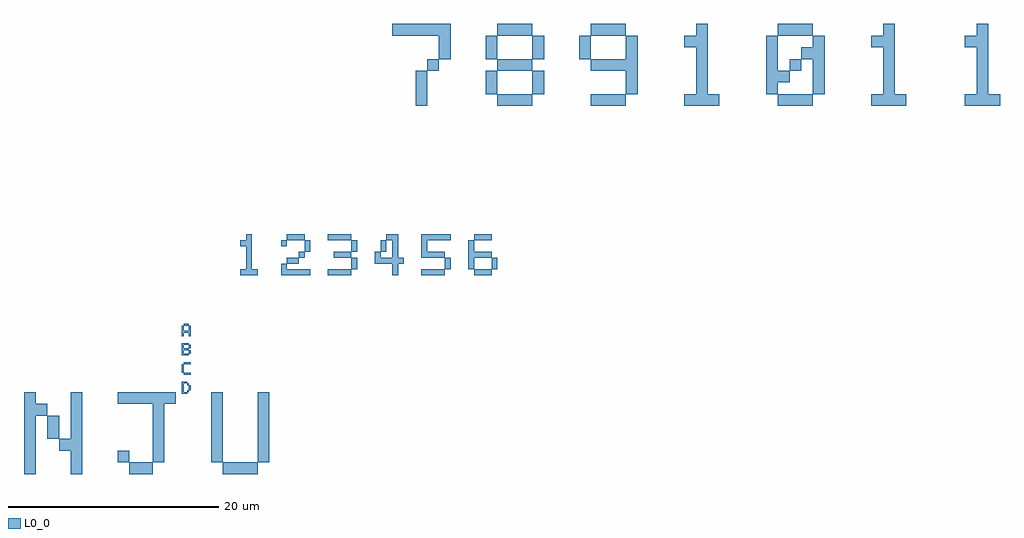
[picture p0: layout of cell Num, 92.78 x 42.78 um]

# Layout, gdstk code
import gdstk
lib = gdstk.Library(unit=1e-6, precision=1e-09)
def R(c, l, rs):  # rectangles x0, y0, x1, y1
    for r in rs: c.add(gdstk.rectangle(r[:2], r[2:], *l))
def P(c, l, *ps):  # polygons
    for p in ps: c.add(gdstk.Polygon(p, *l))
L0_0 = (0, 0)

num = lib.new_cell('Num')
R(num, L0_0, [(-11.111,-16.667,-10,-15.556), (-4.5,-10,-4.333,-9.833), (-4.5,-9.333,-4.333,-9.167), (6.111,2.778,6.667,3.333), (4.444,3.889,5,4.444), (18.333,20.556,19.444,21.667), (52.778,20.556,53.889,21.667)])
P(num, L0_0, [(0.556,1.111),(1.111,1.111),(1.667,1.111),(2.222,1.111),(2.222,1.667),(1.667,1.667),(1.667,2.222),(1.667,2.778),(1.667,3.333),(1.667,3.889),(1.667,4.444),(1.667,5),(1.111,5),(1.111,4.444),(0.556,4.444),(0.556,3.889),(1.111,3.889),(1.111,3.333),(1.111,2.778),(1.111,2.222),(1.111,1.667),(0.556,1.667)],
  [(4.444,1.111),(5,1.111),(5.556,1.111),(6.111,1.111),(6.667,1.111),(7.222,1.111),(7.222,1.667),(6.667,1.667),(6.111,1.667),(5.556,1.667),(5,1.667),(5,2.222),(4.444,2.222),(4.444,1.667)],
  [(5,2.222),(5.556,2.222),(6.111,2.222),(6.111,2.778),(5.556,2.778),(5,2.778)],
  [(5,4.444),(5.556,4.444),(6.111,4.444),(6.667,4.444),(6.667,5),(6.111,5),(5.556,5),(5,5)],
  [(6.667,3.333),(7.222,3.333),(7.222,3.889),(7.222,4.444),(6.667,4.444),(6.667,3.889)],
  [(8.889,1.111),(9.444,1.111),(10,1.111),(10.556,1.111),(11.111,1.111),(11.111,1.667),(10.556,1.667),(10,1.667),(9.444,1.667),(8.889,1.667)],
  [(8.889,4.444),(9.444,4.444),(10,4.444),(10.556,4.444),(11.111,4.444),(11.111,5),(10.556,5),(10,5),(9.444,5),(8.889,5)],
  [(9.444,2.778),(10,2.778),(10.556,2.778),(11.111,2.778),(11.111,3.333),(10.556,3.333),(10,3.333),(9.444,3.333)],
  [(11.111,1.667),(11.667,1.667),(11.667,2.222),(11.667,2.778),(11.111,2.778),(11.111,2.222)],
  [(11.111,3.333),(11.667,3.333),(11.667,3.889),(11.667,4.444),(11.111,4.444),(11.111,3.889)],
  [(13.333,2.222),(13.889,2.222),(14.444,2.222),(15,2.222),(15,1.667),(15,1.111),(15.556,1.111),(15.556,1.667),(15.556,2.222),(16.111,2.222),(16.111,2.778),(15.556,2.778),(15.556,3.333),(15.556,3.889),(15.556,4.444),(15.556,5),(15,5),(14.444,5),(14.444,4.444),(15,4.444),(15,3.889),(15,3.333),(15,2.778),(14.444,2.778),(13.889,2.778),(13.889,3.333),(13.333,3.333),(13.333,2.778)],
  [(13.889,3.333),(14.444,3.333),(14.444,3.889),(14.444,4.444),(13.889,4.444),(13.889,3.889)],
  [(17.778,1.111),(18.333,1.111),(18.889,1.111),(19.444,1.111),(20,1.111),(20,1.667),(19.444,1.667),(18.889,1.667),(18.333,1.667),(17.778,1.667)],
  [(17.778,2.778),(18.333,2.778),(18.889,2.778),(19.444,2.778),(20,2.778),(20,3.333),(19.444,3.333),(18.889,3.333),(18.333,3.333),(18.333,3.889),(18.333,4.444),(18.889,4.444),(19.444,4.444),(20,4.444),(20.556,4.444),(20.556,5),(20,5),(19.444,5),(18.889,5),(18.333,5),(17.778,5),(17.778,4.444),(17.778,3.889),(17.778,3.333)],
  [(20,1.667),(20.556,1.667),(20.556,2.222),(20.556,2.778),(20,2.778),(20,2.222)],
  [(22.222,1.667),(22.778,1.667),(22.778,2.222),(22.778,2.778),(23.333,2.778),(23.889,2.778),(24.444,2.778),(24.444,3.333),(23.889,3.333),(23.333,3.333),(22.778,3.333),(22.778,3.889),(22.778,4.444),(22.222,4.444),(22.222,3.889),(22.222,3.333),(22.222,2.778),(22.222,2.222)],
  [(22.778,1.111),(23.333,1.111),(23.889,1.111),(24.444,1.111),(24.444,1.667),(23.889,1.667),(23.333,1.667),(22.778,1.667)],
  [(22.778,4.444),(23.333,4.444),(23.889,4.444),(24.444,4.444),(24.444,5),(23.889,5),(23.333,5),(22.778,5)],
  [(24.444,1.667),(25,1.667),(25,2.222),(25,2.778),(24.444,2.778),(24.444,2.222)],
  [(15,23.889),(16.111,23.889),(17.222,23.889),(18.333,23.889),(19.444,23.889),(19.444,22.778),(19.444,21.667),(20.556,21.667),(20.556,22.778),(20.556,23.889),(20.556,25),(19.444,25),(18.333,25),(17.222,25),(16.111,25),(15,25)],
  [(17.222,17.222),(18.333,17.222),(18.333,18.333),(18.333,19.444),(18.333,20.556),(17.222,20.556),(17.222,19.444),(17.222,18.333)],
  [(23.889,18.333),(25,18.333),(25,19.444),(25,20.556),(23.889,20.556),(23.889,19.444)],
  [(23.889,21.667),(25,21.667),(25,22.778),(25,23.889),(23.889,23.889),(23.889,22.778)],
  [(25,17.222),(26.111,17.222),(27.222,17.222),(28.333,17.222),(28.333,18.333),(27.222,18.333),(26.111,18.333),(25,18.333)],
  [(25,20.556),(26.111,20.556),(27.222,20.556),(28.333,20.556),(28.333,21.667),(27.222,21.667),(26.111,21.667),(25,21.667)],
  [(25,23.889),(26.111,23.889),(27.222,23.889),(28.333,23.889),(28.333,25),(27.222,25),(26.111,25),(25,25)],
  [(28.333,18.333),(29.444,18.333),(29.444,19.444),(29.444,20.556),(28.333,20.556),(28.333,19.444)],
  [(28.333,21.667),(29.444,21.667),(29.444,22.778),(29.444,23.889),(28.333,23.889),(28.333,22.778)],
  [(32.778,21.667),(33.889,21.667),(33.889,22.778),(33.889,23.889),(32.778,23.889),(32.778,22.778)],
  [(33.889,17.222),(35,17.222),(36.111,17.222),(37.222,17.222),(37.222,18.333),(36.111,18.333),(35,18.333),(33.889,18.333)],
  [(33.889,20.556),(35,20.556),(36.111,20.556),(37.222,20.556),(37.222,19.444),(37.222,18.333),(38.333,18.333),(38.333,19.444),(38.333,20.556),(38.333,21.667),(38.333,22.778),(38.333,23.889),(37.222,23.889),(37.222,22.778),(37.222,21.667),(36.111,21.667),(35,21.667),(33.889,21.667)],
  [(33.889,23.889),(35,23.889),(36.111,23.889),(37.222,23.889),(37.222,25),(36.111,25),(35,25),(33.889,25)],
  [(42.778,17.222),(43.889,17.222),(45,17.222),(46.111,17.222),(46.111,18.333),(45,18.333),(45,19.444),(45,20.556),(45,21.667),(45,22.778),(45,23.889),(45,25),(43.889,25),(43.889,23.889),(42.778,23.889),(42.778,22.778),(43.889,22.778),(43.889,21.667),(43.889,20.556),(43.889,19.444),(43.889,18.333),(42.778,18.333)],
  [(50.556,18.333),(51.667,18.333),(51.667,19.444),(52.778,19.444),(52.778,20.556),(51.667,20.556),(51.667,21.667),(51.667,22.778),(51.667,23.889),(50.556,23.889),(50.556,22.778),(50.556,21.667),(50.556,20.556),(50.556,19.444)],
  [(51.667,17.222),(52.778,17.222),(53.889,17.222),(55,17.222),(55,18.333),(53.889,18.333),(52.778,18.333),(51.667,18.333)],
  [(51.667,23.889),(52.778,23.889),(53.889,23.889),(55,23.889),(55,25),(53.889,25),(52.778,25),(51.667,25)],
  [(53.889,21.667),(55,21.667),(55,20.556),(55,19.444),(55,18.333),(56.111,18.333),(56.111,19.444),(56.111,20.556),(56.111,21.667),(56.111,22.778),(56.111,23.889),(55,23.889),(55,22.778),(53.889,22.778)],
  [(60.556,17.222),(61.667,17.222),(62.778,17.222),(63.889,17.222),(63.889,18.333),(62.778,18.333),(62.778,19.444),(62.778,20.556),(62.778,21.667),(62.778,22.778),(62.778,23.889),(62.778,25),(61.667,25),(61.667,23.889),(60.556,23.889),(60.556,22.778),(61.667,22.778),(61.667,21.667),(61.667,20.556),(61.667,19.444),(61.667,18.333),(60.556,18.333)],
  [(69.444,17.222),(70.556,17.222),(71.667,17.222),(72.778,17.222),(72.778,18.333),(71.667,18.333),(71.667,19.444),(71.667,20.556),(71.667,21.667),(71.667,22.778),(71.667,23.889),(71.667,25),(70.556,25),(70.556,23.889),(69.444,23.889),(69.444,22.778),(70.556,22.778),(70.556,21.667),(70.556,20.556),(70.556,19.444),(70.556,18.333),(69.444,18.333)],
  [(-20,-17.778),(-18.889,-17.778),(-18.889,-16.667),(-18.889,-15.556),(-18.889,-14.444),(-18.889,-13.333),(-18.889,-12.222),(-17.778,-12.222),(-17.778,-11.111),(-18.889,-11.111),(-18.889,-10),(-20,-10),(-20,-11.111),(-20,-12.222),(-20,-13.333),(-20,-14.444),(-20,-15.556),(-20,-16.667)],
  [(-17.778,-14.444),(-16.667,-14.444),(-16.667,-13.333),(-16.667,-12.222),(-17.778,-12.222),(-17.778,-13.333)],
  [(-16.667,-15.556),(-15.556,-15.556),(-15.556,-16.667),(-15.556,-17.778),(-14.444,-17.778),(-14.444,-16.667),(-14.444,-15.556),(-14.444,-14.444),(-14.444,-13.333),(-14.444,-12.222),(-14.444,-11.111),(-14.444,-10),(-15.556,-10),(-15.556,-11.111),(-15.556,-12.222),(-15.556,-13.333),(-15.556,-14.444),(-16.667,-14.444)],
  [(-11.111,-11.111),(-10,-11.111),(-8.889,-11.111),(-7.778,-11.111),(-7.778,-12.222),(-7.778,-13.333),(-7.778,-14.444),(-7.778,-15.556),(-7.778,-16.667),(-6.667,-16.667),(-6.667,-15.556),(-6.667,-14.444),(-6.667,-13.333),(-6.667,-12.222),(-6.667,-11.111),(-5.556,-11.111),(-5.556,-10),(-6.667,-10),(-7.778,-10),(-8.889,-10),(-10,-10),(-11.111,-10)],
  [(-10,-17.778),(-8.889,-17.778),(-7.778,-17.778),(-7.778,-16.667),(-8.889,-16.667),(-10,-16.667)],
  [(-2.222,-16.667),(-1.111,-16.667),(-1.111,-15.556),(-1.111,-14.444),(-1.111,-13.333),(-1.111,-12.222),(-1.111,-11.111),(-1.111,-10),(-2.222,-10),(-2.222,-11.111),(-2.222,-12.222),(-2.222,-13.333),(-2.222,-14.444),(-2.222,-15.556)],
  [(-1.111,-17.778),(0,-17.778),(1.111,-17.778),(2.222,-17.778),(2.222,-16.667),(1.111,-16.667),(0,-16.667),(-1.111,-16.667)],
  [(2.222,-16.667),(3.333,-16.667),(3.333,-15.556),(3.333,-14.444),(3.333,-13.333),(3.333,-12.222),(3.333,-11.111),(3.333,-10),(2.222,-10),(2.222,-11.111),(2.222,-12.222),(2.222,-13.333),(2.222,-14.444),(2.222,-15.556)],
  [(-5,-4.667),(-4.833,-4.667),(-4.833,-4.5),(-4.833,-4.333),(-4.667,-4.333),(-4.5,-4.333),(-4.333,-4.333),(-4.333,-4.5),(-4.333,-4.667),(-4.167,-4.667),(-4.167,-4.5),(-4.167,-4.333),(-4.167,-4.167),(-4.167,-4),(-4.167,-3.833),(-4.167,-3.667),(-4.333,-3.667),(-4.333,-3.833),(-4.333,-4),(-4.333,-4.167),(-4.5,-4.167),(-4.667,-4.167),(-4.833,-4.167),(-4.833,-4),(-4.833,-3.833),(-4.833,-3.667),(-5,-3.667),(-5,-3.833),(-5,-4),(-5,-4.167),(-5,-4.333),(-5,-4.5)],
  [(-4.833,-3.667),(-4.667,-3.667),(-4.5,-3.667),(-4.333,-3.667),(-4.333,-3.5),(-4.5,-3.5),(-4.667,-3.5),(-4.833,-3.5)],
  [(-5,-6.5),(-4.833,-6.5),(-4.667,-6.5),(-4.5,-6.5),(-4.333,-6.5),(-4.333,-6.333),(-4.5,-6.333),(-4.667,-6.333),(-4.833,-6.333),(-4.833,-6.167),(-4.833,-6),(-4.667,-6),(-4.5,-6),(-4.333,-6),(-4.333,-5.833),(-4.5,-5.833),(-4.667,-5.833),(-4.833,-5.833),(-4.833,-5.667),(-4.833,-5.5),(-4.667,-5.5),(-4.5,-5.5),(-4.333,-5.5),(-4.333,-5.333),(-4.5,-5.333),(-4.667,-5.333),(-4.833,-5.333),(-5,-5.333),(-5,-5.5),(-5,-5.667),(-5,-5.833),(-5,-6),(-5,-6.167),(-5,-6.333)],
  [(-4.333,-6.333),(-4.167,-6.333),(-4.167,-6.167),(-4.167,-6),(-4.333,-6),(-4.333,-6.167)],
  [(-4.333,-5.833),(-4.167,-5.833),(-4.167,-5.667),(-4.167,-5.5),(-4.333,-5.5),(-4.333,-5.667)],
  [(-5,-8.167),(-4.833,-8.167),(-4.833,-8),(-4.833,-7.833),(-4.833,-7.667),(-4.833,-7.5),(-4.833,-7.333),(-5,-7.333),(-5,-7.5),(-5,-7.667),(-5,-7.833),(-5,-8)],
  [(-4.833,-8.333),(-4.667,-8.333),(-4.5,-8.333),(-4.333,-8.333),(-4.167,-8.333),(-4.167,-8.167),(-4.333,-8.167),(-4.5,-8.167),(-4.667,-8.167),(-4.833,-8.167)],
  [(-4.833,-7.333),(-4.667,-7.333),(-4.5,-7.333),(-4.333,-7.333),(-4.167,-7.333),(-4.167,-7.167),(-4.333,-7.167),(-4.5,-7.167),(-4.667,-7.167),(-4.833,-7.167)],
  [(-5,-10.167),(-4.833,-10.167),(-4.667,-10.167),(-4.5,-10.167),(-4.5,-10),(-4.667,-10),(-4.833,-10),(-4.833,-9.833),(-4.833,-9.667),(-4.833,-9.5),(-4.833,-9.333),(-4.833,-9.167),(-4.667,-9.167),(-4.5,-9.167),(-4.5,-9),(-4.667,-9),(-4.833,-9),(-5,-9),(-5,-9.167),(-5,-9.333),(-5,-9.5),(-5,-9.667),(-5,-9.833),(-5,-10)],
  [(-4.333,-9.833),(-4.167,-9.833),(-4.167,-9.667),(-4.167,-9.5),(-4.167,-9.333),(-4.333,-9.333),(-4.333,-9.5),(-4.333,-9.667)])

lib.write_gds('Num.gds')
